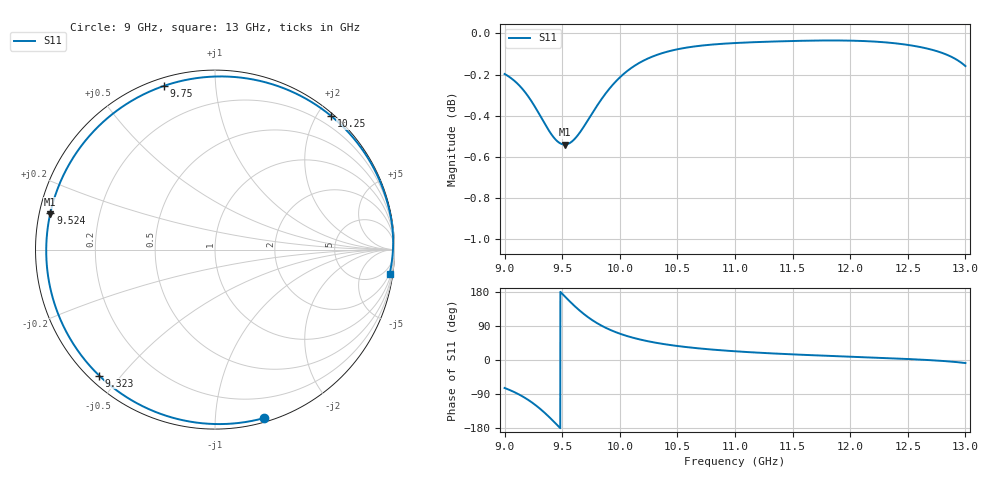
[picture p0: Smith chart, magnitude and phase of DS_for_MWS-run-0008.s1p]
! TOUCHSTONE file generated by CST DESIGN STUDIO
! Date and time: Tue Feb  4 13:51:27 2025
! Project name: C:\Work\MatlabApps\UnitCellOptimizationMatlab\CST\unitcell.cst
! Tree item: Tasks\Sweep1\SPara1\S-Parameters
! Header version: 2024
! Port assignment regex: !\s*Touchstone port\s*([0-9]+)\s*=\s*(CST MWS port|CST DES external port|CST DES block port)\s*(.+)\s* \(\"(.*)\"\)(\s*mode\s*([0-9]+))?.*
! Touchstone port assignment:
! Touchstone port 1 = CST DES external port 1 ("")
# GHz S MA R 50
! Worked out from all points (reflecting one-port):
!   4001 points, 9 GHz to 13 GHz, reference 50 ohm
!   lowest |S11| = -0.5 dB at 9.522 GHz (marker M1), VSWR 32.18, Z = 1.57 + j5.29 ohm
!   phase of S11 starts at -74 deg and turns -294 deg over the sweep
!   S11 on the Smith chart (normalised r, x): 9 GHz: 0.03, -1.33; 9.323 GHz: 0.03, -0.44; 9.524 GHz: 0.03, +0.11; 9.75 GHz: 0.04, +0.73; 10.25 GHz: 0.04, +2.19; 13 GHz: 2, -14
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9  0.9776 -73.8
9.086  0.9738 -85.0
9.187  0.9669 -101.8
9.258  0.9603 -116.7
9.323  0.9535 -132.6
9.369  0.9486 -145.3
9.419  0.9441 -160.0
9.46  0.9413 -172.7
9.5  0.9399 174.8
9.522  0.9397 167.9
9.524  0.9397 167.3
9.576  0.9409 151.5
9.638  0.9448 134.0
9.692  0.9496 120.4
9.75  0.9553 107.5
9.856  0.9652 88.3
9.927  0.9708 78.2
10  0.9757 69.5
10.117  0.9816 58.5
10.251  0.9863 49.1
10.5  0.9912 37.0
10.721  0.9933 29.7
11  0.9947 23.0
11.5  0.9958 14.9
12  0.996 8.7
12.5  0.9936 2.6
12.788  0.9894 -2.2
13  0.9819 -8.0
